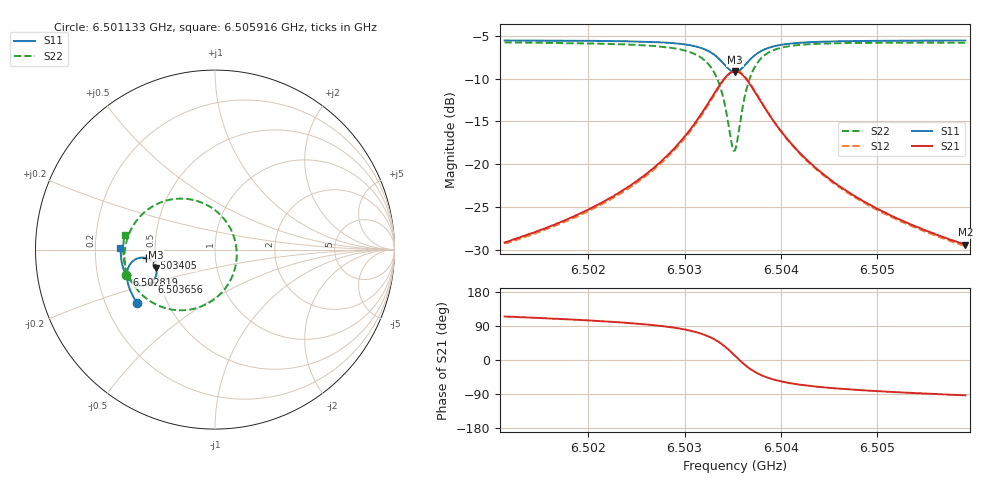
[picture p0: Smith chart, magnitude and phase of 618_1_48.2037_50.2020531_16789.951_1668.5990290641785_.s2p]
#  HZ  S  RI  R  50.00
! Rohde & Schwarz Vector Network Analyzer
! Rohde-Schwarz,ZNB20-2Port,1311601062101988,3.16
! Created: UTC 3/20/2024, 12:03:47 PM
! freq[Hz]  re:S11  im:S11  re:S21  im:S21  re:S12  im:S12  re:S22  im:S22
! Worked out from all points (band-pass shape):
!   401 points, 6.501133 GHz to 6.505916 GHz, reference 50 ohm
!   highest |S21| = -9.16 dB at 6.503524 GHz (marker M1); lowest = -29.4 dB at 6.505916 GHz (marker M2)
!   |S21| within 3 dB of the highest: 6.503286 GHz to 6.503764 GHz (478.3 kHz wide, 0.00735 % of centre)
!   lowest |S11| = -9.3 dB at 6.503524 GHz (marker M3), VSWR 2.05, Z = 24.8 - j5.63 ohm
!   |S11| at or under -10 dB: nowhere
!   |S22| runs from -18.4 to -5.8 dB; largest |S21 - S12| = 0.012
!   S11 on the Smith chart (normalised r, x): 6.501133 GHz: 0.34, -0.28; 6.502819 GHz: 0.33, -0.13; 6.503405 GHz: 0.44, -0.05; 6.503656 GHz: 0.45, -0.19; 6.505916 GHz: 0.31, +0.01
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6.5011326e9  -0.4348 -0.2977  -0.0146 0.0319  -0.013 0.032  -0.4943 -0.1393
6.5019337e9  -0.468 -0.2368  -0.014 0.0505  -0.0114 0.05  -0.5046 -0.0513
6.502412e9  -0.4839 -0.1927  -0.0101 0.0731  -0.00688 0.0719  -0.4986 0.0211
6.5027349e9  -0.4904 -0.1549  -0.000796 0.1015  0.00289 0.0991  -0.478 0.0906
6.5028186e9  -0.4909 -0.1433  0.00424 0.1122  0.00799 0.1095  -0.4671 0.1138
6.5030219e9  -0.4861 -0.1093  0.0273 0.1475  0.0311 0.1433  -0.4189 0.1832
6.5031654e9  -0.4712 -0.0793  0.0659 0.182  0.0687 0.1761  -0.3442 0.2429
6.5033089e9  -0.4322 -0.0495  0.1497 0.2112  0.1504 0.2049  -0.1916 0.2841
6.5034045e9  -0.3844 -0.0469  0.2433 0.194  0.2437 0.1894  -0.0294 0.2397
6.5034882e9  -0.3401 -0.0772  0.3236 0.1175  0.3265 0.1133  0.0993 0.0887
6.5035241e9  -0.329 -0.1001  0.3418 0.0673  0.3459 0.0618  0.1207 -0.00555
6.503548e9  -0.3259 -0.1169  0.3453 0.0317  0.35 0.0249  0.1183 -0.0709
6.5035839e9  -0.3281 -0.1418  0.3377 -0.0198  0.3418 -0.0292  0.0902 -0.1626
6.5036556e9  -0.351 -0.1803  0.2897 -0.0985  0.2899 -0.1106  -0.0234 -0.2898
6.5037035e9  -0.3722 -0.1943  0.2482 -0.128  0.2458 -0.14  -0.1098 -0.3276
6.5037633e9  -0.398 -0.2012  0.1999 -0.145  0.1946 -0.1554  -0.205 -0.3379
6.5039187e9  -0.4464 -0.1919  0.1136 -0.1408  0.1062 -0.1463  -0.3606 -0.2878
6.5040861e9  -0.4749 -0.1704  0.0668 -0.119  0.0602 -0.1215  -0.436 -0.2197
6.5043253e9  -0.496 -0.1407  0.0354 -0.0929  0.0303 -0.0936  -0.4811 -0.145
6.5047079e9  -0.5127 -0.0994  0.0148 -0.0671  0.0114 -0.0667  -0.505 -0.0643
6.5051264e9  -0.5213 -0.06  0.00548 -0.0507  0.00289 -0.05  -0.5111 -0.00284
6.5059156e9  -0.5265 0.00763  -0.00204 -0.034  -0.00328 -0.0333  -0.5041 0.0837
